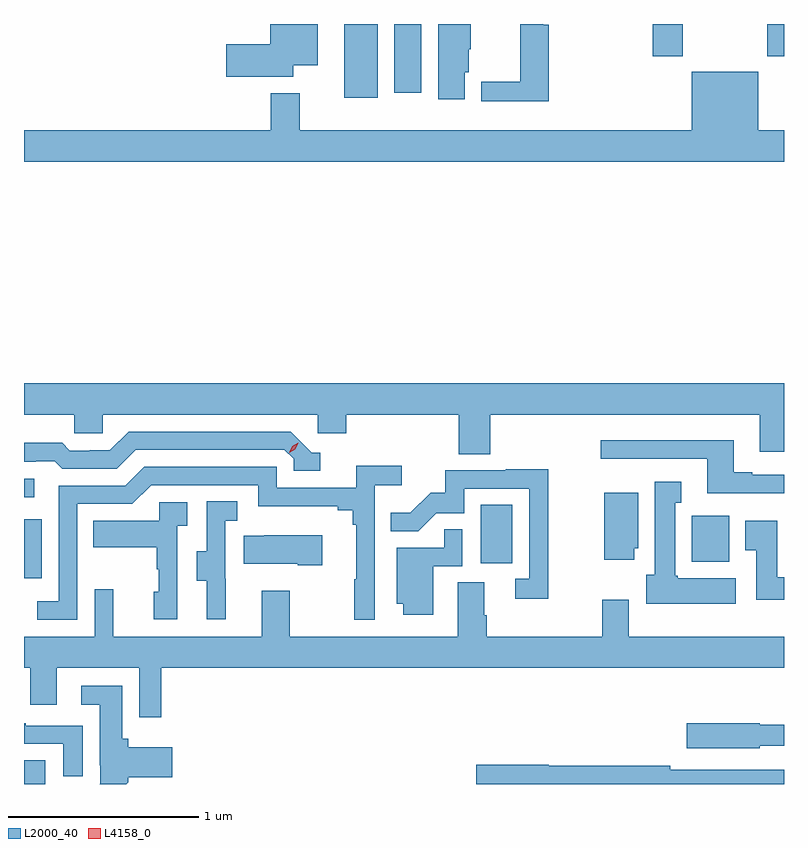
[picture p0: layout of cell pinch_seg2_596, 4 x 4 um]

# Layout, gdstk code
import gdstk
lib = gdstk.Library(unit=1e-6, precision=1e-09)
def R(c, l, rs):  # rectangles x0, y0, x1, y1
    for r in rs: c.add(gdstk.rectangle(r[:2], r[2:], *l))
def P(c, l, *ps):  # polygons
    for p in ps: c.add(gdstk.Polygon(p, *l))
L2000_40 = (2000, 40)
L4158_0 = (4158, 0)

pinch_seg2_596 = lib.new_cell('pinch_seg2_596')
R(pinch_seg2_596, L2000_40, [(1058.283,605.732,1058.395,605.858), (1058.283,606.816,1058.376,607.126), (1060.688,606.894,1060.852,607.201), (1061.798,606.902,1061.995,607.144), (1058.283,607.242,1058.338,607.338), (1059.968,609.344,1060.144,609.732), (1060.232,609.369,1060.375,609.732), (1061.591,609.561,1061.751,609.732), (1062.196,609.561,1062.283,609.732)])
P(pinch_seg2_596, L2000_40, [(1061.045,609.727),(1061.015,609.727),(1061.015,609.732),(1060.894,609.732),(1060.894,609.428),(1060.689,609.428),(1060.689,609.326),(1061.045,609.326)],
  [(1060.603,609.477),(1060.624,609.477),(1060.624,609.6),(1060.633,609.6),(1060.633,609.732),(1060.463,609.732),(1060.463,609.336),(1060.603,609.336)],
  [(1059.7,609.515),(1059.829,609.515),(1059.829,609.732),(1059.578,609.732),(1059.578,609.626),(1059.348,609.626),(1059.348,609.455),(1059.7,609.455)],
  [(1062.283,609.172),(1062.148,609.172),(1062.148,609.481),(1061.798,609.481),(1061.798,609.172),(1059.733,609.172),(1059.733,609.367),(1059.581,609.367),(1059.581,609.172),(1058.283,609.172),(1058.283,609.008),(1062.283,609.008)],
  [(1060.736,607.676),(1062.155,607.676),(1062.155,607.482),(1062.283,607.482),(1062.283,607.84),(1058.283,607.84),(1058.283,607.676),(1058.547,607.676),(1058.547,607.578),(1058.697,607.578),(1058.697,607.676),(1059.828,607.676),(1059.828,607.578),(1059.98,607.578),(1059.98,607.676),(1060.571,607.676),(1060.571,607.468),(1060.736,607.468)],
  [(1059.841,607.476),(1059.798,607.476),(1059.687,607.587),(1058.834,607.587),(1058.735,607.488),(1058.628,607.488),(1058.628,607.485),(1058.525,607.485),(1058.483,607.528),(1058.283,607.528),(1058.283,607.428),(1058.345,607.428),(1058.345,607.431),(1058.444,607.431),(1058.483,607.392),(1058.772,607.392),(1058.871,607.491),(1059.654,607.491),(1059.702,607.443),(1059.702,607.38),(1059.841,607.38)],
  [(1062.283,607.359),(1062.115,607.359),(1062.115,607.372),(1062.019,607.372),(1062.019,607.54),(1061.319,607.54),(1061.319,607.443),(1061.879,607.443),(1061.879,607.262),(1062.283,607.262)],
  [(1058.562,607.206),(1058.853,607.206),(1058.952,607.305),(1059.516,607.305),(1059.516,607.193),(1059.935,607.193),(1059.935,607.174),(1060.012,607.174),(1060.012,607.097),(1060.031,607.097),(1060.031,606.809),(1060.02,606.809),(1060.02,606.597),(1060.128,606.597),(1060.128,607.304),(1060.27,607.304),(1060.27,607.406),(1060.031,607.406),(1060.031,607.29),(1059.612,607.29),(1059.612,607.401),(1058.915,607.401),(1058.816,607.302),(1058.466,607.302),(1058.466,606.693),(1058.353,606.693),(1058.353,606.597),(1058.562,606.597)],
  [(1061.042,607.388),(1060.819,607.388),(1060.819,607.383),(1060.501,607.383),(1060.501,607.266),(1060.424,607.266),(1060.317,607.159),(1060.213,607.159),(1060.213,607.061),(1060.357,607.061),(1060.454,607.158),(1060.599,607.158),(1060.599,607.287),(1060.941,607.287),(1060.941,606.813),(1060.869,606.813),(1060.869,606.708),(1061.042,606.708)],
  [(1062.028,606.814),(1061.724,606.814),(1061.724,606.828),(1061.71,606.828),(1061.71,607.211),(1061.743,607.211),(1061.743,607.324),(1061.603,607.324),(1061.603,606.834),(1061.558,606.834),(1061.558,606.68),(1062.028,606.68)],
  [(1061.494,606.972),(1061.515,606.972),(1061.515,607.264),(1061.336,607.264),(1061.336,606.912),(1061.494,606.912)],
  [(1059.344,606.813),(1059.342,606.813),(1059.342,607.117),(1059.406,607.117),(1059.406,607.22),(1059.246,607.22),(1059.246,606.957),(1059.191,606.957),(1059.191,606.802),(1059.245,606.802),(1059.245,606.6),(1059.344,606.6)],
  [(1059.09,607.091),(1059.142,607.091),(1059.142,607.215),(1058.994,607.215),(1058.994,607.117),(1058.647,607.117),(1058.647,606.977),(1058.982,606.977),(1058.982,606.863),(1058.992,606.863),(1058.992,606.744),(1058.966,606.744),(1058.966,606.6),(1059.09,606.6)],
  [(1062.283,606.82),(1062.247,606.82),(1062.247,607.117),(1062.08,607.117),(1062.08,606.961),(1062.137,606.961),(1062.137,606.702),(1062.283,606.702)],
  [(1060.438,606.879),(1060.59,606.879),(1060.59,607.073),(1060.495,607.073),(1060.495,606.975),(1060.244,606.975),(1060.244,606.68),(1060.28,606.68),(1060.28,606.624),(1060.438,606.624)],
  [(1059.853,607.042),(1059.547,607.042),(1059.547,607.039),(1059.439,607.039),(1059.439,606.89),(1059.725,606.89),(1059.725,606.883),(1059.853,606.883)],
  [(1059.005,606.344),(1062.283,606.344),(1062.283,606.508),(1061.467,606.508),(1061.467,606.703),(1061.327,606.703),(1061.327,606.508),(1060.718,606.508),(1060.718,606.62),(1060.705,606.62),(1060.705,606.794),(1060.565,606.794),(1060.565,606.508),(1059.681,606.508),(1059.681,606.748),(1059.533,606.748),(1059.533,606.508),(1058.753,606.508),(1058.753,606.757),(1058.655,606.757),(1058.655,606.508),(1058.283,606.508),(1058.283,606.344),(1058.315,606.344),(1058.315,606.15),(1058.455,606.15),(1058.455,606.344),(1058.889,606.344),(1058.889,606.084),(1059.005,606.084)],
  [(1058.831,605.742),(1058.831,605.768),(1059.064,605.768),(1059.064,605.926),(1058.831,605.926),(1058.831,605.97),(1058.8,605.97),(1058.8,606.25),(1058.583,606.25),(1058.583,606.149),(1058.681,606.149),(1058.681,605.83),(1058.685,605.83),(1058.685,605.736),(1058.681,605.732),(1058.821,605.732)],
  [(1058.593,606.039),(1058.293,606.039),(1058.293,606.052),(1058.283,606.052),(1058.283,605.943),(1058.489,605.943),(1058.489,605.772),(1058.593,605.772)],
  [(1062.156,605.934),(1062.283,605.934),(1062.283,606.043),(1062.156,606.043),(1062.156,606.051),(1061.772,606.051),(1061.772,605.921),(1062.156,605.921)],
  [(1062.283,605.808),(1061.684,605.808),(1061.684,605.828),(1061.046,605.828),(1061.046,605.834),(1060.662,605.834),(1060.662,605.732),(1062.283,605.732)])
P(pinch_seg2_596, L4158_0, [(1059.679,607.476),(1059.679,607.476),(1059.695,607.509),(1059.726,607.528),(1059.726,607.528),(1059.726,607.528),(1059.71,607.495),(1059.68,607.476)])

lib.write_gds('pinch_seg2_596.gds')
